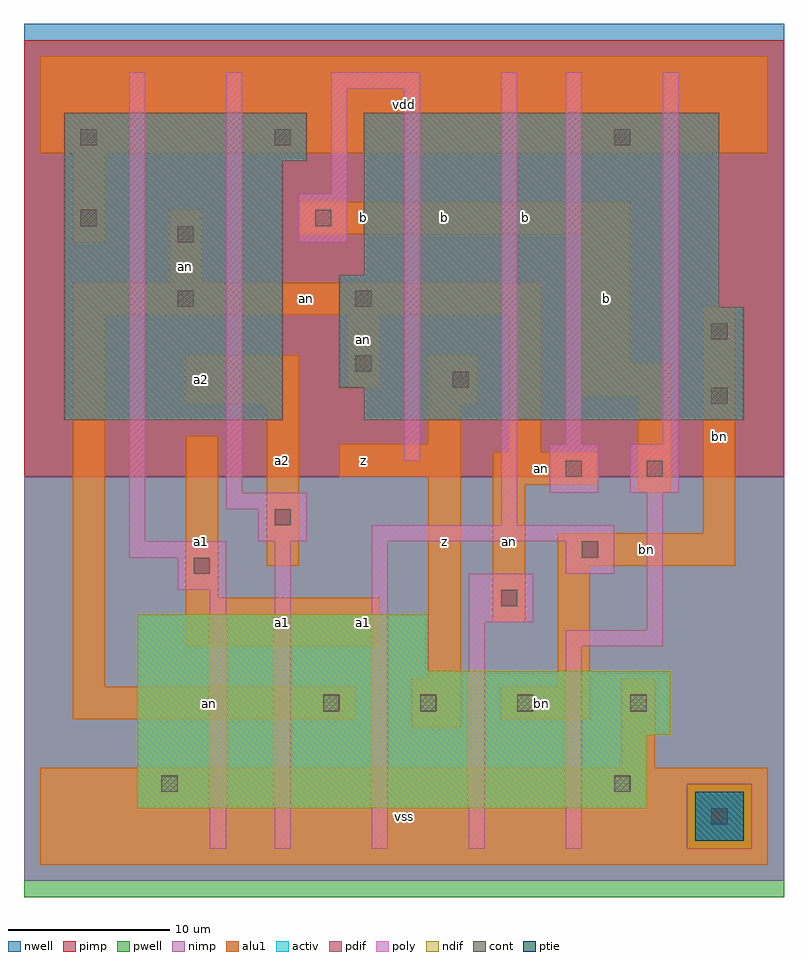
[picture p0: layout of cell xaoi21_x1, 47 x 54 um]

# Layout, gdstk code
import gdstk
lib = gdstk.Library(unit=1e-6, precision=1e-09)
def R(c, l, rs):  # rectangles x0, y0, x1, y1
    for r in rs: c.add(gdstk.rectangle(r[:2], r[2:], *l))
def A(c, l, x, y, w, h, nx, ny, dx, dy):  # array of equal rectangles
    R(c, l, [(x+i*dx, y+j*dy, x+i*dx+w, y+j*dy+h) for i in range(nx) for j in range(ny)])
ndif = (3, 0)
pdif = (4, 0)
ptie = (6, 0)
cont = (25, 0)
pwell = (41, 0)
nwell = (42, 0)
activ = (43, 0)
pimp = (44, 0)
nimp = (45, 0)
poly = (46, 0)
alu1 = (49, 0)

xaoi21_x1 = lib.new_cell('xaoi21_x1')
R(xaoi21_x1, ndif, [(6,3.5,37.5,8), (6,8,39,12), (6,12,24,15.5)])
R(xaoi21_x1, pdif, [(1.5,27.5,15,43.5), (20,27.5,43.5,29.5), (18.5,29.5,43.5,34.5), (18.5,34.5,42,36.5), (20,36.5,42,46.5), (1.5,43.5,16.5,46.5)])
R(xaoi21_x1, ptie, [(40.5,1.5,43.5,4.5)])
A(xaoi21_x1, cont, 17.5, 9.5, 1, 1, 3, 1, 6, 0)
R(xaoi21_x1, cont, [(41.5,2.5,42.5,3.5), (7.5,4.5,8.5,5.5), (35.5,4.5,36.5,5.5), (36.5,9.5,37.5,10.5), (28.5,16,29.5,17), (9.5,18,10.5,19), (33.5,19,34.5,20), (14.5,21,15.5,22), (32.5,24,33.5,25), (37.5,24,38.5,25), (41.5,28.5,42.5,29.5), (25.5,29.5,26.5,30.5), (19.5,30.5,20.5,31.5), (41.5,32.5,42.5,33.5), (8.5,34.5,9.5,35.5), (19.5,34.5,20.5,35.5), (8.5,38.5,9.5,39.5), (2.5,39.5,3.5,40.5), (17,39.5,18,40.5), (2.5,44.5,3.5,45.5), (14.5,44.5,15.5,45.5), (35.5,44.5,36.5,45.5)])
R(xaoi21_x1, pwell, [(-1,-2,46,24)])
R(xaoi21_x1, nwell, [(-1,24,46,52)])
R(xaoi21_x1, activ, [(40.5,1.5,43.5,4.5), (6,3.5,37.5,8), (6,8,39,12), (6,12,24,15.5), (1.5,27.5,15,43.5), (20,27.5,43.5,29.5), (18.5,29.5,43.5,34.5), (18.5,34.5,42,36.5), (20,36.5,42,46.5), (1.5,43.5,16.5,46.5)])
R(xaoi21_x1, pimp, [(40,1,44,5), (-1,24,46,51)])
R(xaoi21_x1, nimp, [(-1,-1,46,1), (-1,1,40,5), (44,1,46,5), (-1,5,46,24)])
R(xaoi21_x1, poly, [(10.5,1,11.5,17), (14.5,1,15.5,20), (20.5,1,21.5,20), (26.5,1,27.5,15), (32.5,1,33.5,13.5), (32.5,13.5,38.5,14.5), (37.5,14.5,38.5,23), (26.5,15,30.5,18), (8.5,17,11.5,19), (32.5,18,35.5,20), (5.5,19,11.5,20), (5.5,20,6.5,49), (13.5,20,16.5,22), (20.5,20,35.5,21), (28.5,21,29.5,49), (11.5,22,16.5,23), (11.5,23,12.5,49), (31.5,23,34.5,26), (36.5,23,39.5,26), (22.5,25,23.5,48), (32.5,26,33.5,49), (38.5,26,39.5,49), (16,38.5,19,41.5), (18,41.5,19,48), (18,48,23.5,49)])
R(xaoi21_x1, alu1, [(0,0,45,6), (36,6,38,11.5), (23,8.5,26,11.5), (2,9,19.5,11), (28.5,9,34,11), (2,11,4,34), (32,11,34,18.5), (24,11.5,26,24), (9,13.5,21,16.5), (28,15,30,23.5), (9,16.5,11,26.5), (14,18.5,16,28.5), (32,18.5,43,20.5), (41,20.5,43,34.5), (37,23,39,29), (28,23.5,34.5,25.5), (18.5,24,26,26), (29,25.5,31,34), (24,26,26,28.5), (9,28.5,16,31.5), (24,28.5,27,31.5), (33.5,29,39,31), (19,29.5,21,34), (33.5,31,36.5,39), (2,34,31,36), (8,36,10,40.5), (2,38.5,4,44), (16,39,36.5,41), (0,44,45,50)])
xaoi21_x1.add(gdstk.Label('a1', (15,15), layer=49, texttype=0))
xaoi21_x1.add(gdstk.Label('a1', (10,20), layer=49, texttype=0))
xaoi21_x1.add(gdstk.Label('a2', (15,25), layer=49, texttype=0))
xaoi21_x1.add(gdstk.Label('a2', (10,30), layer=49, texttype=0))
xaoi21_x1.add(gdstk.Label('an', (9,37), layer=49, texttype=0))
xaoi21_x1.add(gdstk.Label('vss', (22.5,3), layer=49, texttype=0))
xaoi21_x1.add(gdstk.Label('an', (10.5,10), layer=49, texttype=0))
xaoi21_x1.add(gdstk.Label('a1', (20,15), layer=49, texttype=0))
xaoi21_x1.add(gdstk.Label('z', (25,20), layer=49, texttype=0))
xaoi21_x1.add(gdstk.Label('z', (20,25), layer=49, texttype=0))
xaoi21_x1.add(gdstk.Label('an', (20,32.5), layer=49, texttype=0))
xaoi21_x1.add(gdstk.Label('b', (20,40), layer=49, texttype=0))
xaoi21_x1.add(gdstk.Label('b', (25,40), layer=49, texttype=0))
xaoi21_x1.add(gdstk.Label('vdd', (22.5,47), layer=49, texttype=0))
xaoi21_x1.add(gdstk.Label('bn', (31,10), layer=49, texttype=0))
xaoi21_x1.add(gdstk.Label('an', (29,20), layer=49, texttype=0))
xaoi21_x1.add(gdstk.Label('an', (31,24.5), layer=49, texttype=0))
xaoi21_x1.add(gdstk.Label('an', (16.5,35), layer=49, texttype=0))
xaoi21_x1.add(gdstk.Label('b', (35,35), layer=49, texttype=0))
xaoi21_x1.add(gdstk.Label('b', (30,40), layer=49, texttype=0))
xaoi21_x1.add(gdstk.Label('bn', (37.5,19.5), layer=49, texttype=0))
xaoi21_x1.add(gdstk.Label('bn', (42,26.5), layer=49, texttype=0))

lib.write_gds('xaoi21_x1.gds')
